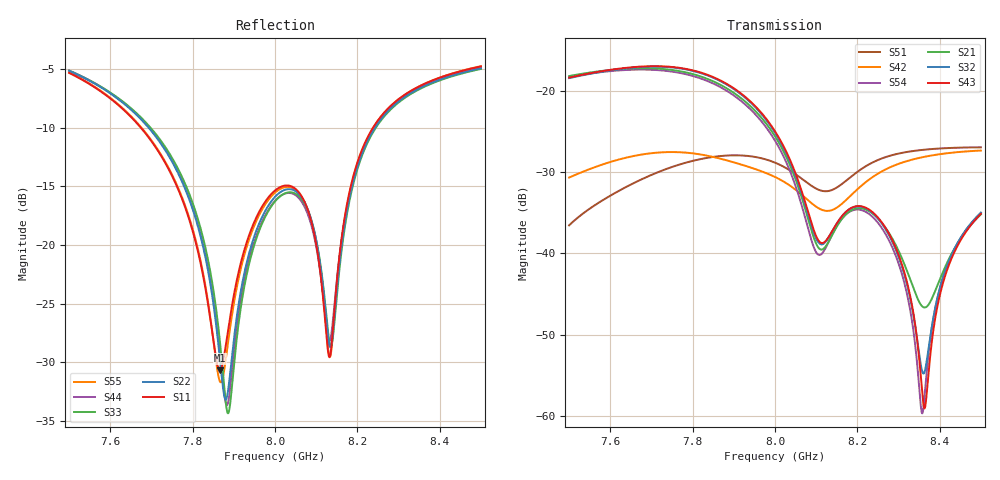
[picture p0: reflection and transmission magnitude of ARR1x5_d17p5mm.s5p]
! Touchstone file exported from HFSS 2025.1.0
!  File:  C:/Users/user/Documents/Ansoft/TFG_UWB-MIMO-Array.aedt
!  Generated:  08:09:00 PM Nov 16, 2026
!  Design:  ARR1x5_US3_PS4_2_1_dparam
!  Project:  TFG_UWB-MIMO-Array
!  Setup:  Setup_ch9
!  Solution:  Sweep_7p5_8p5
! Variables:
!  arr_d = 17.5mm
!  board_m = 13mm
!  board_x = 96mm
!  board_y = 26mm
!  cu_t = 0.035mm
!  line_w = 3.92mm
!  pad_xy = 22mm
!  pad_zn = 25mm
!  pad_zp = 33mm
!  par_L = 7.46mm
!  par_W = 10mm
!  par_yc = 0.75mm
!  par_z = 1.035mm
!  patch_L = 6.222mm
!  patch_W = 11.421266mm
!  sub_h = 2.07mm
!  tr_l = 6.6mm
!  tr_w = 0.8mm
!  u_Lu = 2.65mm
!  u_Wu = 4.4mm
!  u_t = 0.8mm
!  u_y0 = -0.7mm
# GHz S MA R 50.000000
! Terminal data exported
! Port[1] = P1
! Port[2] = P2
! Port[3] = P3
! Port[4] = P4
! Port[5] = P5
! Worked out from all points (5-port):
!   1001 points, 7.5 GHz to 8.5 GHz, reference 50 ohm
!   strongest paths, dB at 7.5 GHz, 7.75 GHz, 8 GHz, 8.25 GHz, 8.5 GHz:
!     S43: -18.4, -17.0, -25.0, -35.6, -35.1
!     S32: -18.4, -17.1, -25.1, -35.7, -35.0
!     S21: -18.2, -17.4, -25.6, -35.7, -35.2
!     S54: -18.3, -17.6, -26.1, -36.2, -35.0
!     S42: -30.7, -27.5, -30.6, -30.2, -27.3
!     S51: -36.5, -29.4, -28.8, -28.5, -26.9
!   lowest |S11| = -30.7 dB at 7.866 GHz (marker M1), VSWR 1.06, Z = 47.6 + j1.48 ohm
!   |S11| at or under -10 dB: 7.674 GHz to 8.238 GHz (564 MHz wide, 7.09 % of centre)
